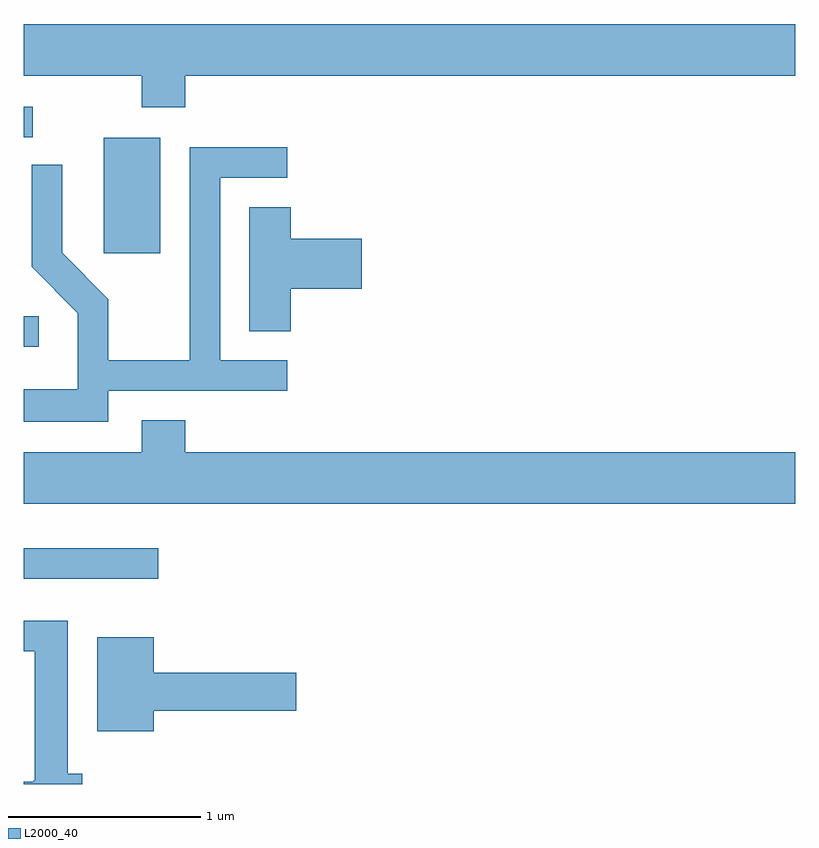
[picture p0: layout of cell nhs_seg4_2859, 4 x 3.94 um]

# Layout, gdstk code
import gdstk
lib = gdstk.Library(unit=1e-6, precision=1e-09)
def R(c, l, rs):  # rectangles x0, y0, x1, y1
    for r in rs: c.add(gdstk.rectangle(r[:2], r[2:], *l))
def P(c, l, *ps):  # polygons
    for p in ps: c.add(gdstk.Polygon(p, *l))
L2000_40 = (2000, 40)

nhs_seg4_2859 = lib.new_cell('nhs_seg4_2859')
R(nhs_seg4_2859, L2000_40, [(269.611,1261.046,270.308,1261.204), (269.611,1262.251,269.688,1262.409), (270.026,1262.736,270.319,1263.334), (269.611,1263.336,269.658,1263.494)])
P(nhs_seg4_2859, L2000_40, [(270.449,1263.656),(273.611,1263.656),(273.611,1263.924),(269.611,1263.924),(269.611,1263.656),(270.221,1263.656),(270.221,1263.491),(270.449,1263.491)],
  [(270.049,1262.021),(270.978,1262.021),(270.978,1262.179),(270.629,1262.179),(270.629,1263.126),(270.978,1263.126),(270.978,1263.284),(270.471,1263.284),(270.471,1262.179),(270.049,1262.179),(270.049,1262.497),(269.809,1262.737),(269.809,1263.193),(269.651,1263.193),(269.651,1262.664),(269.891,1262.424),(269.891,1262.029),(269.611,1262.029),(269.611,1261.861),(270.049,1261.861)],
  [(270.994,1262.551),(271.364,1262.551),(271.364,1262.809),(270.994,1262.809),(270.994,1262.974),(270.781,1262.974),(270.781,1262.331),(270.994,1262.331)],
  [(273.611,1261.704),(270.449,1261.704),(270.449,1261.869),(270.221,1261.869),(270.221,1261.704),(269.611,1261.704),(269.611,1261.436),(273.611,1261.436)],
  [(269.914,1260.034),(269.839,1260.034),(269.839,1260.829),(269.611,1260.829),(269.611,1260.671),(269.666,1260.671),(269.666,1260),(269.66,1260),(269.66,1259.994),(269.611,1259.994),(269.611,1259.982),(269.914,1259.982)],
  [(270.284,1260.361),(271.024,1260.361),(271.024,1260.559),(270.284,1260.559),(270.284,1260.744),(269.991,1260.744),(269.991,1260.256),(270.284,1260.256)])

lib.write_gds('nhs_seg4_2859.gds')
